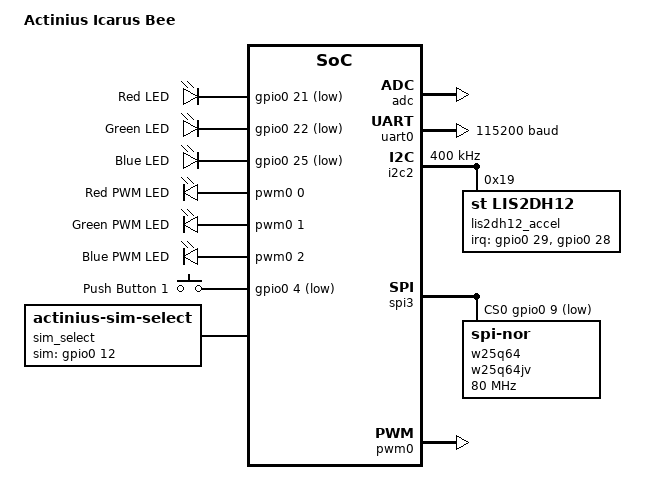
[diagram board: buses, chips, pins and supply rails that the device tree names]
/*
 * Copyright (c) 2021-2022 Actinius
 *
 * SPDX-License-Identifier: Apache-2.0
 */
#include "actinius_icarus_bee_common-pinctrl.dtsi"
#include <zephyr/dt-bindings/input/input-event-codes.h>

/ {
	model = "Actinius Icarus Bee";
	compatible = "actinius,icarus_bee";

	chosen {
		zephyr,console = &uart0;
		zephyr,shell-uart = &uart0;
		zephyr,uart-mcumgr = &uart0;
	};

	leds {
		compatible = "gpio-leds";

		red_led: led_0 {
			gpios = <&gpio0 21 GPIO_ACTIVE_LOW>;
			label = "Red LED";
		};

		green_led: led_1 {
			gpios = <&gpio0 22 GPIO_ACTIVE_LOW>;
			label = "Green LED";
		};

		blue_led: led_2 {
			gpios = <&gpio0 25 GPIO_ACTIVE_LOW>;
			label = "Blue LED";
		};
	};

	pwmleds {
		compatible = "pwm-leds";

		red_pwm_led: led_pwm_0 {
			pwms = <&pwm0 0 PWM_MSEC(20) PWM_POLARITY_INVERTED>;
			label = "Red PWM LED";
		};

		green_pwm_led: led_pwm_1 {
			pwms = <&pwm0 1 PWM_MSEC(20) PWM_POLARITY_INVERTED>;
			label = "Green PWM LED";
		};

		blue_pwm_led: led_pwm_2 {
			pwms = <&pwm0 2 PWM_MSEC(20) PWM_POLARITY_INVERTED>;
			label = "Blue PWM LED";
		};
	};

	buttons {
		compatible = "gpio-keys";

		button0: button_0 {
			gpios = <&gpio0 4 (GPIO_PULL_UP | GPIO_ACTIVE_LOW)>;
			label = "Push Button 1";
			zephyr,code = <INPUT_KEY_0>;
		};
	};

	aliases {
		led0 = &red_led;
		led1 = &green_led;
		led2 = &blue_led;
		pwm-led0 = &red_pwm_led;
		pwm-led1 = &green_pwm_led;
		pwm-led2 = &blue_pwm_led;
		red-pwm-led = &red_pwm_led;
		green-pwm-led = &green_pwm_led;
		blue-pwm-led = &blue_pwm_led;
		sw0 = &button0;
		bootloader-led0 = &blue_led;
		mcuboot-button0 = &button0;
		mcuboot-led0 = &blue_led;
		watchdog0 = &wdt0;
		accel0 = &lis2dh12_accel;
	};

	sim_select: sim-select {
		compatible = "actinius-sim-select";
		sim-gpios = <&gpio0 12 GPIO_ACTIVE_HIGH>;
		sim = "esim";
	};
};

&adc {
	status ="okay";
};

&gpiote {
	status = "okay";
};

&gpio0 {
	status = "okay";
};

&uart0 {
	status = "okay";

	current-speed = <115200>;
	pinctrl-0 = <&uart0_default>;
	pinctrl-1 = <&uart0_sleep>;
	pinctrl-names = "default", "sleep";
};

&i2c2 {
	compatible = "nordic,nrf-twim";
	status = "okay";

	clock-frequency = <I2C_BITRATE_FAST>;

	pinctrl-0 = <&i2c2_default>;
	pinctrl-1 = <&i2c2_sleep>;
	pinctrl-names = "default", "sleep";
	lis2dh12_accel: lis2dh12-accel@19 {
		compatible = "st,lis2dh12", "st,lis2dh";
		reg = <0x19>;
		irq-gpios = <&gpio0 29 GPIO_ACTIVE_HIGH>,
			  <&gpio0 28 GPIO_ACTIVE_HIGH>;
	};
};

&spi3 {
	compatible = "nordic,nrf-spim";
	status = "okay";

	cs-gpios = <&gpio0 9 GPIO_ACTIVE_LOW>;

	pinctrl-0 = <&spi3_default>;
	pinctrl-1 = <&spi3_sleep>;
	pinctrl-names = "default", "sleep";
	w25q64: w25q64jv@0 {
		compatible = "jedec,spi-nor";
		reg = <0>;
		spi-max-frequency = <80000000>;
		jedec-id = [ef 40 17];
		size = <0x4000000>;
		has-dpd;
		t-enter-dpd = <3500>;
		t-exit-dpd = <3500>;
	};
};

&pwm0 {
	status = "okay";

	pinctrl-0 = <&pwm0_default>;
	pinctrl-1 = <&pwm0_sleep>;
	pinctrl-names = "default", "sleep";
};

/* Include default memory partition configuration file */
#include <common/nordic/nrf91xx_partition.dtsi>
